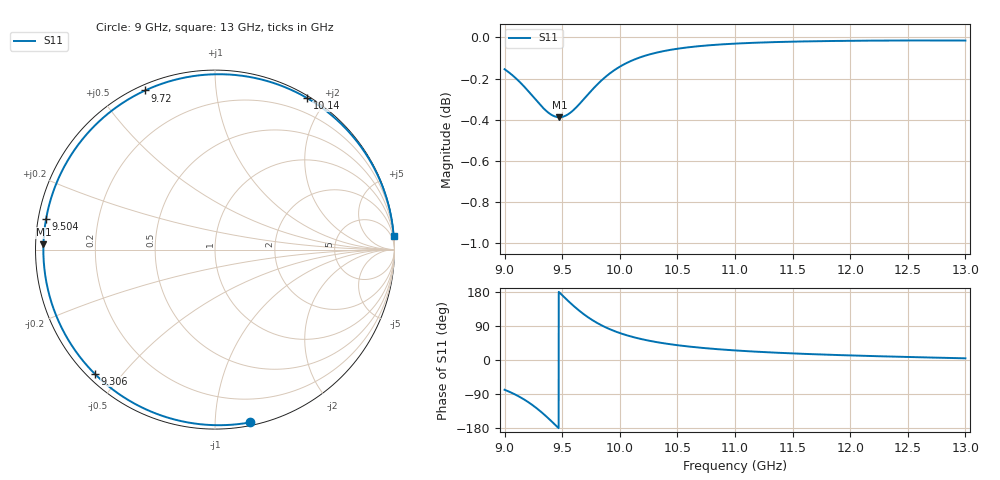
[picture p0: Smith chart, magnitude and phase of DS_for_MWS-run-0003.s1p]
! TOUCHSTONE file generated by CST DESIGN STUDIO
! Date and time: Tue Feb  4 13:23:52 2025
! Project name: C:\Work\MatlabApps\UnitCellOptimizationMatlab\CST\unitcell.cst
! Tree item: Tasks\Sweep1\SPara1\S-Parameters
! Header version: 2024
! Port assignment regex: !\s*Touchstone port\s*([0-9]+)\s*=\s*(CST MWS port|CST DES external port|CST DES block port)\s*(.+)\s* \(\"(.*)\"\)(\s*mode\s*([0-9]+))?.*
! Touchstone port assignment:
! Touchstone port 1 = CST DES external port 1 ("")
# GHz S MA R 50
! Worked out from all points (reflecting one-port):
!   4001 points, 9 GHz to 13 GHz, reference 50 ohm
!   lowest |S11| = -0.4 dB at 9.475 GHz (marker M1), VSWR 44.82, Z = 1.12 + j0.754 ohm
!   phase of S11 starts at -79 deg and turns -277 deg over the sweep
!   S11 on the Smith chart (normalised r, x): 9 GHz: 0.02, -1.22; 9.306 GHz: 0.02, -0.42; 9.504 GHz: 0.02, +0.09; 9.72 GHz: 0.02, +0.65; 10.14 GHz: 0.03, +1.78; 13 GHz: 1, +26
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9  0.9824 -78.5
9.076  0.9786 -88.7
9.174  0.9726 -105.1
9.242  0.9678 -119.0
9.306  0.9632 -134.1
9.35  0.9604 -145.7
9.397  0.958 -158.8
9.437  0.9568 -170.5
9.475  0.9564 178.3
9.5  0.9565 170.9
9.504  0.9566 169.7
9.556  0.9581 154.6
9.616  0.9613 138.2
9.667  0.9646 125.5
9.72  0.9684 113.7
9.776  0.9722 102.6
9.838  0.9761 92.1
9.917  0.9803 80.8
10  0.9838 71.1
10.14  0.9881 58.6
10.303  0.9913 48.1
10.5  0.9937 39.1
10.722  0.9953 31.8
11  0.9966 25.3
11.5  0.9977 17.4
12  0.9981 12.1
12.5  0.9983 8.0
13  0.9983 4.4
